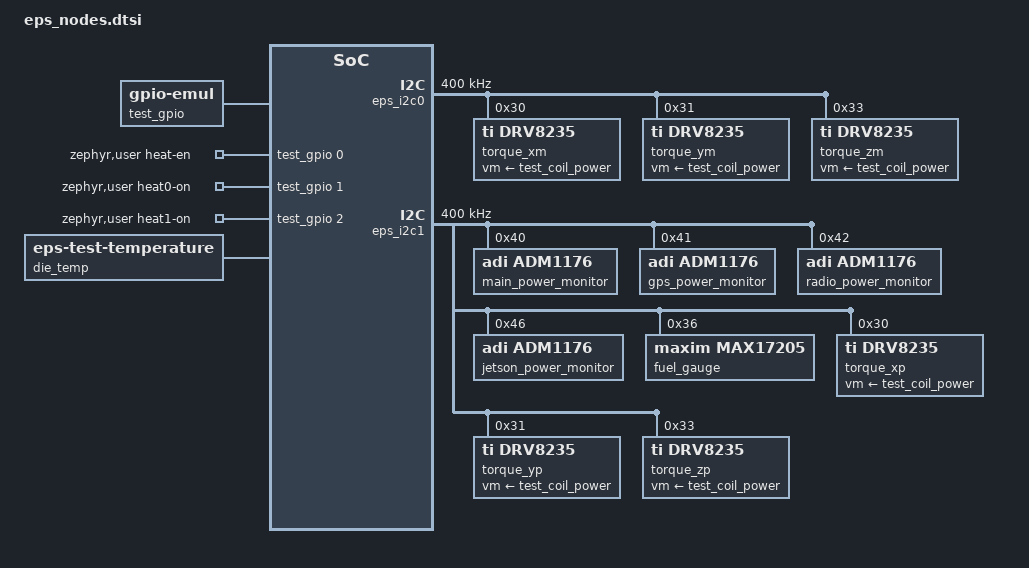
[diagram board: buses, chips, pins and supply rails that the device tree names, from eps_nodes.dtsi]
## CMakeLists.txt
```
# SPDX-License-Identifier: Apache-2.0
cmake_minimum_required(VERSION 3.20.0)
get_filename_component(ROOT "${CMAKE_CURRENT_LIST_DIR}/../../.." ABSOLUTE)
list(APPEND DTS_ROOT ${ROOT})
find_package(Zephyr REQUIRED HINTS $ENV{ZEPHYR_BASE})
project(eps_integration)
target_sources(app PRIVATE
    src/main.c
    ${ROOT}/src/tasks/eps.c ${ROOT}/src/tasks/eps_zephyr.c
    ${ROOT}/src/drivers/adm1176.c ${ROOT}/src/drivers/adm1176_common.c
    ${ROOT}/src/drivers/drv8235.c ${ROOT}/src/drivers/drv8235_common.c
    ${ROOT}/src/drivers/max17205.c
    ${ROOT}/tests/drivers/adm1176/src/adm1176_emul.c
    ${ROOT}/tests/drivers/drv8235/src/drv8235_emul.c
    ${ROOT}/tests/drivers/max17205/src/max17205_emul.c)
target_include_directories(app PRIVATE ${ROOT}/include
    ${ROOT}/tests/drivers/adm1176/src ${ROOT}/tests/drivers/drv8235/src
    ${ROOT}/tests/drivers/max17205/src)
```

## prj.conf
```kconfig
CONFIG_ZTEST=y
CONFIG_I2C=y
CONFIG_SENSOR=y
CONFIG_FUEL_GAUGE=y
CONFIG_GPIO=y
CONFIG_GPIO_EMUL=y
CONFIG_EMUL=y
CONFIG_LOG=y
CONFIG_REGULATOR=y
CONFIG_MAIN_STACK_SIZE=4096
CONFIG_ZTEST_STACK_SIZE=4096
CONFIG_STACK_SENTINEL=y
```

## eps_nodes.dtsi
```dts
/* SPDX-License-Identifier: Apache-2.0 */
#include <zephyr/dt-bindings/i2c/i2c.h>
#include <zephyr/dt-bindings/gpio/gpio.h>

/ {
	test_gpio: gpio-emulator {
		compatible = "zephyr,gpio-emul";
		gpio-controller;
		#gpio-cells = <2>;
		ngpios = <3>;
	};
	zephyr,user {
		heat-en-gpios = <&test_gpio 0 GPIO_ACTIVE_HIGH>;
		heat0-on-gpios = <&test_gpio 1 GPIO_ACTIVE_HIGH>;
		heat1-on-gpios = <&test_gpio 2 GPIO_ACTIVE_HIGH>;
	};
	die_temp: test-temperature { compatible = "zephyr,eps-test-temperature"; };

	test_regulators {
		compatible = "zephyr,fake-regulator";
		test_coil_power: test-coil-power {
			regulator-name = "test_coil_power";
			regulator-boot-on;
		};
	};

	eps_i2c0: i2c@100 {
		compatible = "zephyr,i2c-emul-controller";
		reg = <0x100 4>;
		clock-frequency = <I2C_BITRATE_FAST>;
		#address-cells = <1>;
		#size-cells = <0>;
		status = "okay";
		torque_xm: torque-xm@30 {
			compatible = "ti,drv8235"; reg = <0x30>;
			max-output-microvolt = <6000000>; coil-resistance-milliohm = <25000>;
			imtr-full-scale-microamp = <3700000>;
			vm-supply = <&test_coil_power>;
		};
		torque_ym: torque-ym@31 {
			compatible = "ti,drv8235"; reg = <0x31>;
			max-output-microvolt = <6000000>; coil-resistance-milliohm = <25000>;
			imtr-full-scale-microamp = <3700000>;
			vm-supply = <&test_coil_power>;
		};
		torque_zm: torque-zm@33 {
			compatible = "ti,drv8235"; reg = <0x33>;
			max-output-microvolt = <6000000>; coil-resistance-milliohm = <25000>;
			imtr-full-scale-microamp = <3700000>;
			vm-supply = <&test_coil_power>;
		};
	};
	eps_i2c1: i2c@200 {
		compatible = "zephyr,i2c-emul-controller";
		reg = <0x200 4>;
		clock-frequency = <I2C_BITRATE_FAST>;
		#address-cells = <1>;
		#size-cells = <0>;
		status = "okay";
		main_power_monitor: adm1176@40 {
			compatible = "adi,adm1176"; reg = <0x40>; rshunt-micro-ohms = <10000>;
		};
		gps_power_monitor: adm1176@41 {
			compatible = "adi,adm1176"; reg = <0x41>; rshunt-micro-ohms = <10000>;
		};
		radio_power_monitor: adm1176@42 {
			compatible = "adi,adm1176"; reg = <0x42>; rshunt-micro-ohms = <10000>;
		};
		jetson_power_monitor: adm1176@46 {
			compatible = "adi,adm1176"; reg = <0x46>; rshunt-micro-ohms = <10000>;
		};
		fuel_gauge: max17205@36 {
			compatible = "maxim,max17205"; reg = <0x36>; rsense-micro-ohms = <10000>;
		};
		torque_xp: torque-xp@30 {
			compatible = "ti,drv8235"; reg = <0x30>;
			max-output-microvolt = <6000000>; coil-resistance-milliohm = <25000>;
			imtr-full-scale-microamp = <3700000>;
			vm-supply = <&test_coil_power>;
		};
		torque_yp: torque-yp@31 {
			compatible = "ti,drv8235"; reg = <0x31>;
			max-output-microvolt = <6000000>; coil-resistance-milliohm = <25000>;
			imtr-full-scale-microamp = <3700000>;
			vm-supply = <&test_coil_power>;
		};
		torque_zp: torque-zp@33 {
			compatible = "ti,drv8235"; reg = <0x33>;
			max-output-microvolt = <6000000>; coil-resistance-milliohm = <25000>;
			imtr-full-scale-microamp = <3700000>;
			vm-supply = <&test_coil_power>;
		};
	};
};
```

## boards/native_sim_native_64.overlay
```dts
#include "../eps_nodes.dtsi"
```

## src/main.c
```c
/* SPDX-License-Identifier: Apache-2.0 */
#include "argus/tasks/eps.h"
#include "argus/drivers/adm1176.h"
#include "argus/drivers/drv8235.h"
#include "argus/drivers/max17205.h"
#include "adm1176_emul.h"
#include "drv8235_emul.h"
#include "max17205_emul.h"

#include <errno.h>
#include <zephyr/drivers/gpio.h>
#include <zephyr/drivers/gpio/gpio_emul.h>
#include <zephyr/drivers/sensor.h>
#include <zephyr/fff.h>
#include <zephyr/ztest.h>

DEFINE_FFF_GLOBALS;

#define DEV(label) DEVICE_DT_GET(DT_NODELABEL(label))
#define EMUL(label) EMUL_DT_GET(DT_NODELABEL(label))
static const struct device *const coils[] = {
	DEV(torque_xp), DEV(torque_xm), DEV(torque_yp),
	DEV(torque_ym), DEV(torque_zp), DEV(torque_zm),
};
static const struct emul *const coil_emuls[] = {
	EMUL(torque_xp), EMUL(torque_xm), EMUL(torque_yp),
	EMUL(torque_ym), EMUL(torque_zp), EMUL(torque_zm),
};
static const struct emul *const monitor_emuls[] = {
	EMUL(main_power_monitor), EMUL(gps_power_monitor),
	EMUL(radio_power_monitor), EMUL(jetson_power_monitor),
};
static int32_t cpu_uc;
static int cpu_error;
static int temp_fetch(const struct device *dev, enum sensor_channel channel)
{
	ARG_UNUSED(dev);
	ARG_UNUSED(channel);
	return cpu_error;
}
static int temp_get(const struct device *dev, enum sensor_channel channel, struct sensor_value *val)
{
	ARG_UNUSED(dev);
	ARG_UNUSED(channel);
	return sensor_value_from_micro(val, cpu_uc);
}
static DEVICE_API(sensor, temp_api) = { .sample_fetch = temp_fetch, .channel_get = temp_get };
DEVICE_DT_DEFINE(DT_NODELABEL(die_temp), NULL, NULL, NULL, NULL,
		 POST_KERNEL, CONFIG_SENSOR_INIT_PRIORITY, &temp_api);

static void before(void *fixture)
{
	ARG_UNUSED(fixture);
	cpu_uc = 25000000;
	cpu_error = 0;
	for (size_t i = 0; i < ARRAY_SIZE(coils); ++i) {
		drv8235_emul_power_cycle(coil_emuls[i]);
	}
	/* Clear injected errors on BOTH buses before any driver transaction. */
	for (size_t i = 0; i < ARRAY_SIZE(coils); ++i) {
		zassert_ok(drv8235_reconfigure(coils[i]));
	}
	for (size_t i = 0; i < ARRAY_SIZE(monitor_emuls); ++i) {
		const uint8_t bytes[] = {0x80, 0x10, 0x00}; /* V=2048, I=256 */

		adm1176_emul_set_measurement(monitor_emuls[i], bytes);
	}
	const struct emul *g = EMUL(fuel_gauge);

	max17205_emul_reset(g);
	max17205_emul_set_reg(g, 0x36, 0x06, 0x3200);
	max17205_emul_set_reg(g, 0x36, 0x05, 3000);
	max17205_emul_set_reg(g, 0x36, 0x0A, 0xFF00);
	max17205_emul_set_reg(g, 0x36, 0xDA, 6400);
	max17205_emul_set_reg(g, 0x36, 0x09, 40960);
	max17205_emul_set_reg(g, 0x36, 0x11, 11); /* floor(11*3/32) min -> 60 s */
	max17205_emul_set_reg(g, 0x36, 0x20, 32);
	max17205_emul_set_reg(g, 0x36, 0x08, 0xFF00); /* preserve unsigned spec */
	max17205_emul_set_reg(g, 0x0B, 0x34, 2731);
	max17205_emul_set_reg(g, 0x0B, 0x3B, 2781);
	max17205_emul_set_reg(g, 0x0B, 0x35, 2982);
}
static void five(struct eps_state *state, const struct eps_io *io)
{
	for (int i = 1; i <= 5; ++i) { (void)eps_step(state, io, i); }
}

ZTEST(eps_integration, test_real_drivers_feed_spec_units_and_heater_gpio)
{
	const struct eps_io *io = eps_zephyr_init();
	struct eps_state state;

	eps_init(&state);
	zassert_equal(gpio_emul_output_get(DEV(test_gpio), 0), 0);
	zassert_equal(gpio_emul_output_get(DEV(test_gpio), 1), 0);
	zassert_equal(gpio_emul_output_get(DEV(test_gpio), 2), 0);
	zassert_ok(drv8235_set_output_uv(coils[EPS_XP], -1000000));
	drv8235_emul_set_status(coil_emuls[EPS_XP], 30, 96, 0);
	five(&state, io);
	zassert_equal(state.fields[EPS_MAIN_MV], 13175);
	zassert_equal(state.fields[EPS_MAIN_MA], 661);
	zassert_equal(state.fields[EPS_XP_MV], -5019);
	zassert_equal(state.fields[EPS_XP_MA], -1850);
	zassert_equal(state.fields[EPS_XM_MV], 0); /* same address, different bus */
	zassert_equal(state.fields[EPS_PACK_TEMP_CC], 25500);
	zassert_equal(state.fields[EPS_AIN1_TEMP_CC], 0);
	zassert_equal(state.fields[EPS_AIN2_TEMP_CC], 500);
	zassert_equal(state.fields[EPS_DIE_TEMP_CC], 2510);
	zassert_equal(state.fields[EPS_PACK_MA], -40);
	zassert_equal(state.fields[EPS_PACK_MV], 8000);
	zassert_equal(state.fields[EPS_MIDPOINT_MV], 3200);
	zassert_equal(state.fields[EPS_CAPACITY_MAH], 1500);
	zassert_equal(state.fields[EPS_TTE_S], 60);
	zassert_equal(state.fields[EPS_TTF_S], 180);
	zassert_equal(state.fields[EPS_CPU_TEMP_CC], 2500);
	zassert_equal(gpio_emul_output_get(DEV(test_gpio), 0), 1);
	zassert_equal(gpio_emul_output_get(DEV(test_gpio), 1), 1);
	zassert_equal(gpio_emul_output_get(DEV(test_gpio), 2), 0);
	zassert_equal(state.fields[EPS_HEATER1], 1);
}

ZTEST(eps_integration, test_gauge_missing_at_boot_uses_cpu_and_latches_unavailable)
{
	max17205_emul_set_nack(EMUL(fuel_gauge), true);
	cpu_uc = 2000000;
	const struct eps_io *io = eps_zephyr_init();
	struct eps_state state;

	eps_init(&state);
	max17205_emul_set_nack(EMUL(fuel_gauge), false); /* no fault recovery */
	five(&state, io);
	zassert_equal(state.fields[EPS_SOC_PCT], 0);
	zassert_equal(state.power_flag, EPS_NONE);
	zassert_equal(state.fields[EPS_CPU_TEMP_CC], 200);
	zassert_equal(state.fields[EPS_HEATER1], 1);
	zassert_equal(state.fields[EPS_HEATER2], 1);
	zassert_equal(gpio_emul_output_get(DEV(test_gpio), 0), 1);
	zassert_equal(gpio_emul_output_get(DEV(test_gpio), 2), 1);
}

ZTEST(eps_integration, test_missing_one_coil_does_not_abort_other_reads)
{
	drv8235_emul_set_error(coil_emuls[EPS_XM], -ETIMEDOUT);
	drv8235_emul_set_status(coil_emuls[EPS_XP], 5, 12, 0);
	const struct eps_io *io = eps_zephyr_init();
	struct eps_state state;

	eps_init(&state);
	five(&state, io);
	zassert_equal(state.fields[EPS_XM_MV], 0);
	zassert_equal(state.fields[EPS_XM_MA], 0);
	zassert_equal(state.fields[EPS_XP_MV], 836);
	zassert_equal(state.fields[EPS_JETSON_MV], 13175);
	zassert_equal(state.fields[EPS_SOC_PCT], 50);
}

ZTEST(eps_integration, test_raw_temperature_api_rejects_invalid_or_failed_reads)
{
	struct max17205_raw_temperatures t = {1, 2, 3, 4};
	const struct max17205_raw_temperatures expected = t;

	zassert_equal(max17205_read_raw_temperatures(NULL, &t), -EINVAL);
	zassert_equal(max17205_read_raw_temperatures(DEV(fuel_gauge), NULL), -EINVAL);
	max17205_emul_set_nack(EMUL(fuel_gauge), true);
	zassert_equal(max17205_read_raw_temperatures(DEV(fuel_gauge), &t), -EIO);
	zassert_mem_equal(&t, &expected, sizeof(t));
}

ZTEST(eps_integration, test_adm_raw_sample_preserves_nibbles)
{
	const uint8_t bytes[] = {0x12, 0xAB, 0xC3};
	struct adm1176_sample sample;

	adm1176_emul_set_measurement(EMUL(main_power_monitor), bytes);
	zassert_ok(adm1176_read_sample(DEV(main_power_monitor), &sample));
	zassert_equal(sample.raw_voltage, 0x12C);
	zassert_equal(sample.raw_current, 0xAB3);
	zassert_equal(adm1176_read_sample(NULL, &sample), -EINVAL);
	zassert_equal(adm1176_read_sample(DEV(main_power_monitor), NULL), -EINVAL);
}

ZTEST_SUITE(eps_integration, NULL, NULL, before, NULL, NULL);
```
